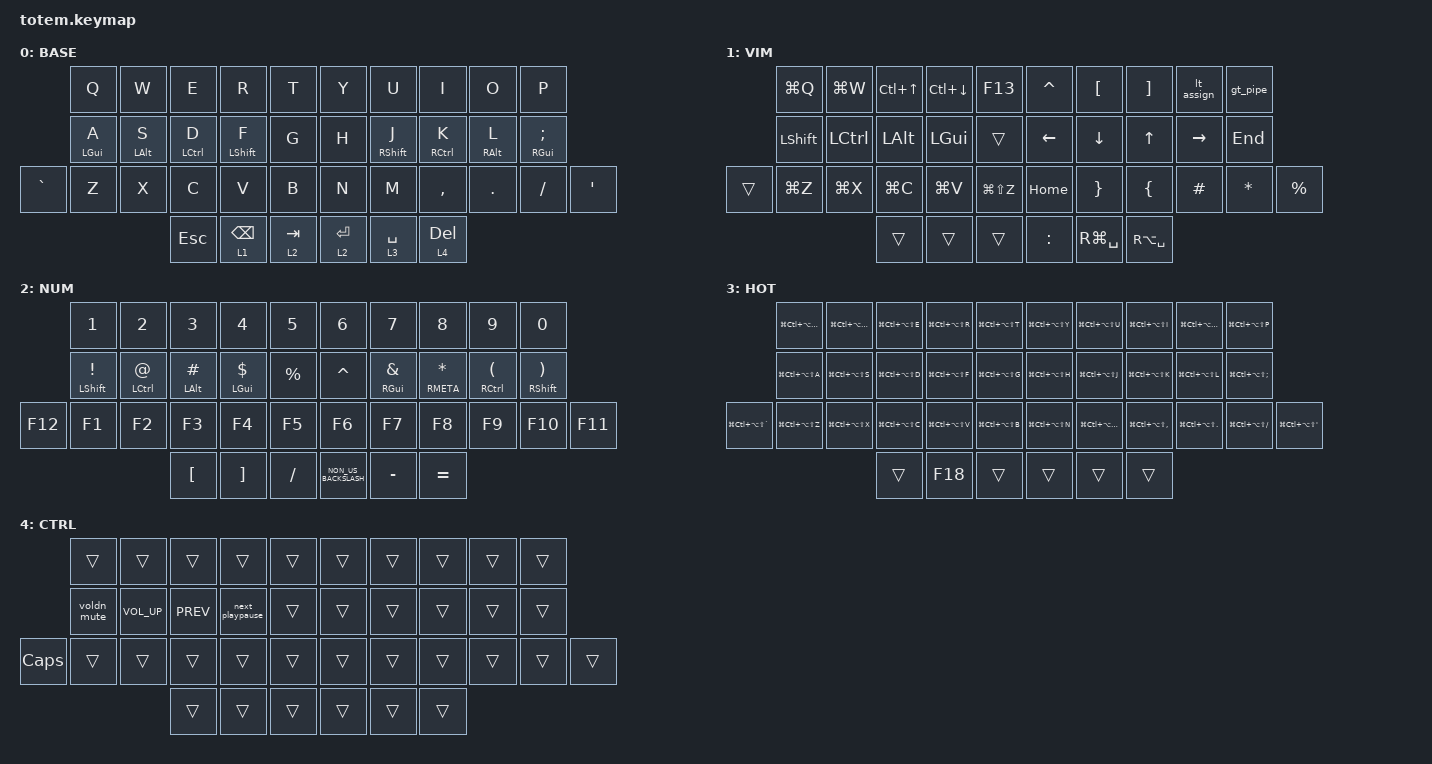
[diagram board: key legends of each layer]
//
//                                                        ▀▀▀▀▀     ▀▀▀▀▀          ▀▀█▀▀
//                                                        ▄▀▀▀▄  ▄  ▄▀▀▀▄  ▄  ▄▀▀▀▄  █  ▄▀▀▀▄
//                                                        █   █  █  █   █  █  █   █  █  █   █
//                                                         ▀▀▀   █   ▀▀▀   █   ▀▀▀   ▀   ▀▀▀
//                                                               █      ▄▄▄█▄▄▄    █   █  
//                                                               ▀      █  █  █     █▄█
//                                                             ▀▀▀▀▀    █  █  █      ▀
//                                                                      ▀  ▀  ▀
//
// ▄▄▄▄▄▄▄▄▄▄▄▄▄▄▄▄▄▄▄▄▄▄▄▄▄▄▄▄▄▄▄▄▄▄▄▄▄▄▄▄▄▄▄▄▄▄▄▄▄▄▄▄▄▄▄▄▄▄▄▄▄▄▄▄▄▄▄▄▄▄▄▄▄▄▄▄▄▄▄▄▄▄▄▄▄▄▄▄▄▄▄▄▄▄▄▄▄▄▄▄▄▄▄▄▄▄▄▄▄▄▄▄▄▄▄▄▄▄▄▄▄▄▄▄▄▄▄▄▄▄▄▄▄▄▄▄▄▄▄▄▄▄▄▄▄▄▄▄▄

#include <behaviors.dtsi>
#include <dt-bindings/zmk/keys.h>

#define BASE 0
#define NAV  1
#define SYM  2
#define ADJ  3
#define TVP1 4
#define TVP2 5

&mt {
    quick-tap-ms = <100>;
    global-quick-tap;
    flavor = "tap-preferred";
    tapping-term-ms = <170>;
};

/ {
    combos { compatible = "zmk,combos"; };

    macros {
        assign: assign {
            compatible = "zmk,behavior-macro";
            #binding-cells = <0>;
            bindings = <&kp SPACE &kp LT &kp MINUS &kp SPACE>;
            label = "ASSIGN";
        };

        pipe: pipe {
            compatible = "zmk,behavior-macro";
            #binding-cells = <0>;
            bindings = <&kp SPACE &kp PIPE &kp GT &kp SPACE>;
            label = "PIPE";
        };
    };

    behaviors {
        lt_assign: lt_assign {
            compatible = "zmk,behavior-tap-dance";
            label = "LT_ASSIGN";
            #binding-cells = <0>;
            bindings = <&kp LESS_THAN>, <&assign>;
        };

        gt_pipe: gt_pipe {
            compatible = "zmk,behavior-tap-dance";
            label = "GT_PIPE";
            #binding-cells = <0>;
            bindings = <&kp GREATER_THAN>, <&pipe>;
        };

        voldn_mute: voldn_mute {
            compatible = "zmk,behavior-tap-dance";
            label = "VOLDN_MUTE";
            #binding-cells = <0>;
            bindings = <&kp K_VOL_DN>, <&kp K_MUTE>;
        };

        next_playpause: next_playpause {
            compatible = "zmk,behavior-tap-dance";
            label = "NEXT_PLAYPAUSE";
            #binding-cells = <0>;
            bindings = <&kp C_NEXT>, <&kp C_PLAY_PAUSE>;
        };
    };

    keymap {
        compatible = "zmk,keymap";

        // ▄▄▄▄▄▄▄▄▄▄▄▄▄▄▄▄▄▄▄▄▄▄▄▄▄▄▄▄▄▄▄▄▄▄▄▄▄▄▄▄▄▄▄▄▄▄▄▄▄▄▄▄▄▄▄▄▄▄▄▄▄▄▄▄▄▄▄▄▄▄▄▄▄▄▄▄▄▄▄▄▄▄▄▄▄▄▄▄▄▄▄▄▄▄▄▄▄▄▄▄▄▄▄▄▄▄▄▄▄▄▄▄▄▄▄▄▄▄▄▄▄▄▄▄▄▄▄▄▄▄▄▄▄▄▄▄▄▄▄▄▄▄▄▄▄▄▄▄▄

        base_layer {
            // ┏━━━━━━━━━━━━━━━━━━━━━━━━━━━━━━━━━━━━━━━┓

            label = "BASE";

            // ┗━━━━━━━━━━━━━━━━━━━━━━━━━━━━━━━━━━━━━━━┛
            //             ┏━━━━━━━━━━━┳━━━━━━━━━━━┳━━━━━━━━━━━┳━━━━━━━━━━━┳━━━━━━━━━━━┓   ┏━━━━━━━━━━━┳━━━━━━━━━━━┳━━━━━━━━━━━┳━━━━━━━━━━━┳━━━━━━━━━━━┓
            //             ┃     Q     ┃     W     ┃     F     ┃     P     ┃     G     ┃   ┃     J     ┃     L     ┃     U     ┃     Y     ┃     ;     ┃
            //             ┣━━━━━━━━━━━╋━━━━━━━━━━━╋━━━━━━━━━━━╋━━━━━━━━━━━╋━━━━━━━━━━━┫   ┣━━━━━━━━━━━╋━━━━━━━━━━━╋━━━━━━━━━━━╋━━━━━━━━━━━╋━━━━━━━━━━━┫
            //             ┃     A     ┃     R     ┃     S     ┃     T     ┃     D     ┃   ┃     H     ┃     N     ┃     E     ┃     I     ┃     O     ┃
            // ┏━━━━━━━━━━━╋━━━━━━━━━━━╋━━━━━━━━━━━╋━━━━━━━━━━━╋━━━━━━━━━━━╋━━━━━━━━━━━┫   ┣━━━━━━━━━━━╋━━━━━━━━━━━╋━━━━━━━━━━━╋━━━━━━━━━━━╋━━━━━━━━━━━╋━━━━━━━━━━━┓
            // ┃     Q     ┃     Z     ┃     X     ┃     C     ┃     V     ┃     B     ┃   ┃     K     ┃     M     ┃     ,     ┃     .     ┃     /     ┃     \     ┃
            // ┗━━━━━━━━━━━┻━━━━━━━━━━━┻━━━━━━━━━━━╋━━━━━━━━━━━╋━━━━━━━━━━━╋━━━━━━━━━━━┫   ┣━━━━━━━━━━━╋━━━━━━━━━━━╋━━━━━━━━━━━╋━━━━━━━━━━━┻━━━━━━━━━━━┻━━━━━━━━━━━┛
            //                                     ┃    DEL    ┃    TAB    ┃    SPC    ┃   ┃   ENTER   ┃           ┃   BSPC    ┃
            //                                     ┗━━━━━━━━━━━┻━━━━━━━━━━━┻━━━━━━━━━━━┛   ┗━━━━━━━━━━━┻━━━━━━━━━━━┻━━━━━━━━━━━┛

            bindings = <
           &kp Q       &kp W       &kp E        &kp R            &kp T        &kp Y        &kp U        &kp I         &kp O       &kp P
           &mt LGUI A  &mt LALT S  &mt LCTRL D  &mt LSHFT F      &kp G        &kp H        &mt RSHFT J  &mt RCTRL K   &mt RALT L  &mt RGUI SEMICOLON
&kp GRAVE  &kp Z       &kp X       &kp C        &kp V            &kp B        &kp N        &kp M        &kp COMMA     &kp PERIOD  &kp SLASH           &kp SINGLE_QUOTE
                                   &kp ESC      &lt 1 BACKSPACE  &lt 2 TAB    &lt 2 ENTER  &lt 3 SPACE  &lt 4 DELETE
            >;
        };

        vim_layer {
            bindings = <
        &kp LG(Q)  &kp LG(W)  &kp LC(UP)  &kp LC(DOWN)  &kp F13          &kp CARET       &kp LBKT        &kp RBKT       &lt_assign       &gt_pipe
        &kp LSHFT  &kp LCTRL  &kp LALT    &kp LGUI      &trans           &kp LEFT_ARROW  &kp DOWN_ARROW  &kp UP_ARROW   &kp RIGHT_ARROW  &kp END
&trans  &kp LG(Z)  &kp LG(X)  &kp LG(C)   &kp LG(V)     &kp LG(LS(Z))    &kp HOME        &kp RBRC        &kp LBRC       &kp HASH         &kp STAR  &kp PRCNT
                              &trans      &trans        &trans           &kp COLON       &kp RG(SPACE)   &kp RA(SPACE)
            >;

            label = "VIM";
        };

        num_layer {
            // ┏━━━━━━━━━━━━━━━━━━━━━━━━━━━━━━━━━━━━━━━┓

            label = "NUM";

            // ┗━━━━━━━━━━━━━━━━━━━━━━━━━━━━━━━━━━━━━━━┛
            //             ┏━━━━━━━━━━━┳━━━━━━━━━━━┳━━━━━━━━━━━┳━━━━━━━━━━━┳━━━━━━━━━━━┓   ┏━━━━━━━━━━━┳━━━━━━━━━━━┳━━━━━━━━━━━┳━━━━━━━━━━━┳━━━━━━━━━━━┓
            //             ┃           ┃           ┃     UP    ┃           ┃     {     ┃   ┃     }     ┃     7     ┃     8     ┃     9     ┃     +     ┃
            //             ┣━━━━━━━━━━━╋━━━━━━━━━━━╋━━━━━━━━━━━╋━━━━━━━━━━━╋━━━━━━━━━━━┫   ┣━━━━━━━━━━━╋━━━━━━━━━━━╋━━━━━━━━━━━╋━━━━━━━━━━━╋━━━━━━━━━━━┫
            //             ┃   SHIFT   ┃   LEFT    ┃    DOWN   ┃   RIGHT   ┃     [     ┃   ┃     ]     ┃     4     ┃     5     ┃     6     ┃     -     ┃
            // ┏━━━━━━━━━━━╋━━━━━━━━━━━╋━━━━━━━━━━━╋━━━━━━━━━━━╋━━━━━━━━━━━╋━━━━━━━━━━━┫   ┣━━━━━━━━━━━╋━━━━━━━━━━━╋━━━━━━━━━━━╋━━━━━━━━━━━╋━━━━━━━━━━━╋━━━━━━━━━━━┓
            // ┃           ┃           ┃   P UP    ┃  C LOCK   ┃  P DOWN   ┃     (     ┃   ┃     )     ┃     1     ┃     2     ┃     3     ┃     *     ┃           ┃
            // ┗━━━━━━━━━━━┻━━━━━━━━━━━┻━━━━━━━━━━━╋━━━━━━━━━━━╋━━━━━━━━━━━╋━━━━━━━━━━━┫   ┣━━━━━━━━━━━╋━━━━━━━━━━━╋━━━━━━━━━━━╋━━━━━━━━━━━┻━━━━━━━━━━━┻━━━━━━━━━━━┛
            //                                     ┃           ┃    TAB    ┃    SPC    ┃   ┃    DEL    ┃     0     ┃           ┃
            //                                     ┗━━━━━━━━━━━┻━━━━━━━━━━━┻━━━━━━━━━━━┛   ┗━━━━━━━━━━━┻━━━━━━━━━━━┻━━━━━━━━━━━┛

            bindings = <
         &kp NUMBER_1    &kp NUMBER_2  &kp NUMBER_3      &kp NUMBER_4       &kp NUMBER_5    &kp NUMBER_6          &kp NUMBER_7   &kp NUMBER_8    &kp NUMBER_9    &kp NUMBER_0
         &mt LSHFT EXCL  &mt LCTRL AT  &mt LALT HASH     &mt LGUI DLLR      &kp PRCNT       &kp CARET             &mt RGUI AMPS  &mt RMETA STAR  &mt RCTRL LPAR  &mt RSHFT RPAR
&kp F12  &kp F1          &kp F2        &kp F3            &kp F4             &kp F5          &kp F6                &kp F7         &kp F8          &kp F9          &kp F10         &kp F11
                                       &kp LEFT_BRACKET  &kp RIGHT_BRACKET  &kp SLASH       &kp NON_US_BACKSLASH  &kp MINUS      &kp EQUAL
            >;
        };

        hot_layer {
            bindings = <
                           &kp LG(LC(LA(LS(Q))))  &kp LG(LC(LA(LS(W))))  &kp LG(LC(LA(LS(E))))  &kp LG(LC(LA(LS(R))))  &kp LG(LC(LA(LS(T))))    &kp LG(LC(LA(LS(Y))))  &kp LG(LC(LA(LS(U))))  &kp LG(LC(LA(LS(I))))      &kp LG(LC(LA(LS(O))))    &kp LG(LC(LA(LS(P))))
                           &kp LG(LC(LA(LS(A))))  &kp LG(LC(LA(LS(S))))  &kp LG(LC(LA(LS(D))))  &kp LG(LC(LA(LS(F))))  &kp LG(LC(LA(LS(G))))    &kp LG(LC(LA(LS(H))))  &kp LG(LC(LA(LS(J))))  &kp LG(LC(LA(LS(K))))      &kp LG(LC(LA(LS(L))))    &kp LG(LC(LA(LS(SEMI))))
&kp LG(LC(LA(LS(GRAVE))))  &kp LG(LC(LA(LS(Z))))  &kp LG(LC(LA(LS(X))))  &kp LG(LC(LA(LS(C))))  &kp LG(LC(LA(LS(V))))  &kp LG(LC(LA(LS(B))))    &kp LG(LC(LA(LS(N))))  &kp LG(LC(LA(LS(M))))  &kp LG(LC(LA(LS(COMMA))))  &kp LG(LC(LA(LS(DOT))))  &kp LG(LC(LA(LS(FSLH))))  &kp LG(LC(LA(LS(APOS))))
                                                                         &trans                 &kp F18                &trans                   &trans                 &trans                 &trans
            >;

            label = "HOT";
        };

        ctrl_layer {
            bindings = <
          &trans       &trans        &trans      &trans           &trans    &trans  &trans  &trans  &trans  &trans
          &voldn_mute  &kp C_VOL_UP  &kp C_PREV  &next_playpause  &trans    &trans  &trans  &trans  &trans  &trans
&kp CAPS  &trans       &trans        &trans      &trans           &trans    &trans  &trans  &trans  &trans  &trans  &trans
                                     &trans      &trans           &trans    &trans  &trans  &trans
            >;

            label = "CTRL";
        };
    };
};
